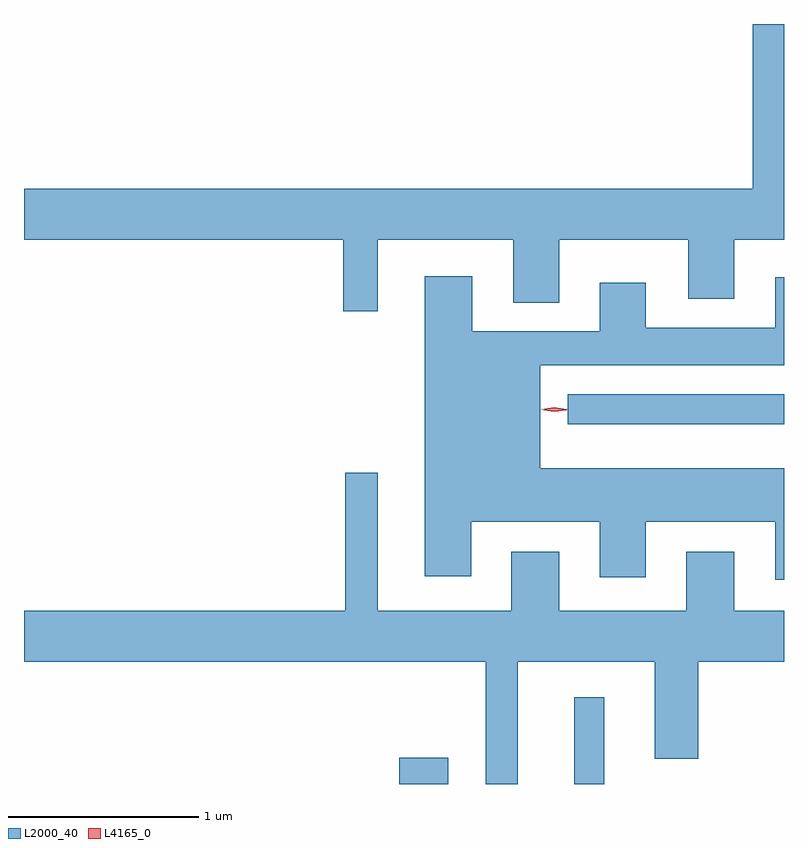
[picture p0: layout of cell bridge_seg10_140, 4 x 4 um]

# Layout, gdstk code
import gdstk
lib = gdstk.Library(unit=1e-6, precision=1e-09)
def R(c, l, rs):  # rectangles x0, y0, x1, y1
    for r in rs: c.add(gdstk.rectangle(r[:2], r[2:], *l))
def P(c, l, *ps):  # polygons
    for p in ps: c.add(gdstk.Polygon(p, *l))
L2000_40 = (2000, 40)
L4165_0 = (4165, 0)

bridge_seg10_140 = lib.new_cell('bridge_seg10_140')
R(bridge_seg10_140, L2000_40, [(1490.656,2113.272,1490.914,2113.409), (1491.576,2113.272,1491.734,2113.728), (1491.543,2115.166,1492.681,2115.324)])
P(bridge_seg10_140, L2000_40, [(1490.544,2116.136),(1491.256,2116.136),(1491.256,2115.806),(1491.499,2115.806),(1491.499,2116.136),(1492.176,2116.136),(1492.176,2115.826),(1492.419,2115.826),(1492.419,2116.136),(1492.681,2116.136),(1492.681,2117.272),(1492.516,2117.272),(1492.516,2116.404),(1488.681,2116.404),(1488.681,2116.136),(1490.361,2116.136),(1490.361,2115.761),(1490.544,2115.761)],
  [(1492.681,2114.934),(1491.399,2114.934),(1491.399,2115.476),(1492.681,2115.476),(1492.681,2115.939),(1492.636,2115.939),(1492.636,2115.674),(1491.954,2115.674),(1491.954,2115.909),(1491.711,2115.909),(1491.711,2115.654),(1491.039,2115.654),(1491.039,2115.944),(1490.791,2115.944),(1490.791,2114.366),(1491.034,2114.366),(1491.034,2114.651),(1491.711,2114.651),(1491.711,2114.361),(1491.954,2114.361),(1491.954,2114.651),(1492.636,2114.651),(1492.636,2114.346),(1492.681,2114.346)],
  [(1491.279,2113.916),(1492.001,2113.916),(1492.001,2113.406),(1492.229,2113.406),(1492.229,2113.916),(1492.681,2113.916),(1492.681,2114.184),(1492.419,2114.184),(1492.419,2114.494),(1492.166,2114.494),(1492.166,2114.184),(1491.499,2114.184),(1491.499,2114.494),(1491.246,2114.494),(1491.246,2114.184),(1490.544,2114.184),(1490.544,2114.909),(1490.371,2114.909),(1490.371,2114.184),(1488.681,2114.184),(1488.681,2113.916),(1491.111,2113.916),(1491.111,2113.272),(1491.279,2113.272)])
P(bridge_seg10_140, L4165_0, [(1491.472,2115.234),(1491.403,2115.244),(1491.402,2115.244),(1491.403,2115.244),(1491.472,2115.254),(1491.54,2115.244),(1491.54,2115.244),(1491.54,2115.244)],
  [(1491.475,2115.23),(1491.413,2115.239),(1491.412,2115.24),(1491.413,2115.24),(1491.475,2115.25),(1491.536,2115.241),(1491.537,2115.24),(1491.536,2115.24)])

lib.write_gds('bridge_seg10_140.gds')
